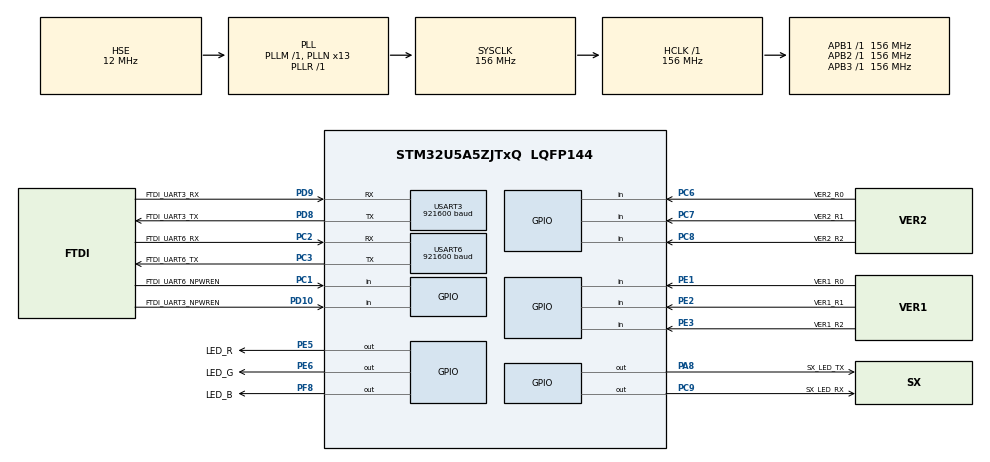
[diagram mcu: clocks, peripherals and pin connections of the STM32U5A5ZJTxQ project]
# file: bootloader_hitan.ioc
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CORTEX_M33_NS.AccessPermission-Cortex_Memory_Protection_Unit_Region0_Settings=MPU_REGION_PRIV_RO
CORTEX_M33_NS.AllocateAttribute1=MPU_RW_ALLOCATE
CORTEX_M33_NS.Attributes0=MPU_ATTRIBUTES_NUMBER0
CORTEX_M33_NS.Attributes1=MPU_ATTRIBUTES_NUMBER1
CORTEX_M33_NS.AttributesIndex-Cortex_Memory_Protection_Unit_Region1_Settings=MPU_ATTRIBUTES_NUMBER1
CORTEX_M33_NS.BaseAddress-Cortex_Memory_Protection_Unit_Region0_Settings=0x08000000
CORTEX_M33_NS.BaseAddress-Cortex_Memory_Protection_Unit_Region1_Settings=0x20000000
CORTEX_M33_NS.CacheableAttribute1=MPU_WRITE_BACK
CORTEX_M33_NS.Enable-Cortex_Memory_Protection_Unit_Region0_Settings=MPU_REGION_ENABLE
CORTEX_M33_NS.Enable-Cortex_Memory_Protection_Unit_Region1_Settings=MPU_REGION_ENABLE
CORTEX_M33_NS.LimitAddress-Cortex_Memory_Protection_Unit_Region0_Settings=0x081FDFFF
CORTEX_M33_NS.LimitAddress-Cortex_Memory_Protection_Unit_Region1_Settings=0x2026FFFF
CORTEX_M33_NS.MPU_Control=MPU_PRIVILEGED_DEFAULT
CORTEX_M33_NS.Memorytype1=MPU_CACHEABLE
CORTEX_M33_NS.Number-Cortex_Memory_Protection_Unit_Region1_Settings=MPU_REGION_NUMBER1
CORTEX_M33_NS.userName=CORTEX_M33
FLASH.B1_BLOCK_active=true
FLASH.B1_endPage=254
FLASH.B2_Bank=FLASH_BANK_2
FLASH.B2_endPage=255
FLASH.OB_Boot_Configuration_active_NS0=true
FLASH.OB_DBANK=OB_DUALBANK_DUAL
FLASH.OB_NSBOOTADD0_Address=0x08000000
GPDMA1.DESTINC_GPDMACH0=DMA_DINC_INCREMENTED
GPDMA1.DESTINC_GPDMACH1=DMA_DINC_FIXED
GPDMA1.DESTINC_GPDMACH2=DMA_DINC_INCREMENTED
GPDMA1.DIRECTION_GPDMACH1=DMA_MEMORY_TO_PERIPH
GPDMA1.DIRECTION_GPDMACH3=DMA_MEMORY_TO_PERIPH
GPDMA1.IPHANDLE_GPDMACH0-SIMPLEREQUEST_GPDMACH0=__NULL
GPDMA1.IPHANDLE_GPDMACH1-SIMPLEREQUEST_GPDMACH1=__NULL
GPDMA1.IPHANDLE_GPDMACH2-SIMPLEREQUEST_GPDMACH2=__NULL
GPDMA1.IPHANDLE_GPDMACH3-SIMPLEREQUEST_GPDMACH3=__NULL
GPDMA1.PRIORITY_GPDMACH0=DMA_LOW_PRIORITY_HIGH_WEIGHT
GPDMA1.PRIORITY_GPDMACH1=DMA_LOW_PRIORITY_HIGH_WEIGHT
GPDMA1.PRIORITY_GPDMACH2=DMA_LOW_PRIORITY_HIGH_WEIGHT
GPDMA1.PRIORITY_GPDMACH3=DMA_LOW_PRIORITY_HIGH_WEIGHT
GPDMA1.REQUEST_GPDMACH0=GPDMA1_REQUEST_USART6_RX
GPDMA1.REQUEST_GPDMACH1=GPDMA1_REQUEST_USART6_TX
GPDMA1.REQUEST_GPDMACH2=GPDMA1_REQUEST_USART3_RX
GPDMA1.REQUEST_GPDMACH3=GPDMA1_REQUEST_USART3_TX
GPDMA1.SRCINC_GPDMACH1=DMA_SINC_INCREMENTED
GPDMA1.SRCINC_GPDMACH3=DMA_SINC_INCREMENTED
GPDMA1.SRCINC_GPDMACH4=DMA_SINC_INCREMENTED
GTZC.MPCBB1_Area_Privilege_Size=0x000C0000
GTZC.MPCBB1_SecConfig_array=00000000\:00000000\:00000000\:00000000\:00000000\:00000000\:00000000\:00000000\:00000000\:00000000\:00000000\:00000000\:00000000\:00000000\:00000000\:00000000\:00000000\:00000000\:00000000\:00000000\:00000000\:00000000\:00000000\:00000000\:00000000\:00000000\:00000000\:00000000\:00000000\:00000000\:00000000\:00000000\:00000000\:00000000\:00000000\:00000000\:00000000\:00000000\:00000000\:00000000\:00000000\:00000000\:00000000\:00000000\:00000000\:00000000\:00000000\:00000000
GTZC.MPCBB2_Area_Privilege_Size=0x00010000
GTZC.MPCBB2_PrivConfig_array=FFFFFFFF\:FFFFFFFF\:FFFFFFFF\:FFFFFFFF\:00000000\:00000000\:00000000\:00000000\:00000000\:00000000\:00000000\:00000000\:00000000\:00000000\:00000000\:00000000\:00000000\:00000000\:00000000\:00000000\:00000000\:00000000\:00000000\:00000000\:00000000\:00000000\:00000000\:00000000\:00000000\:00000000\:00000000\:00000000\:00000000\:00000000\:00000000\:00000000\:00000000\:00000000\:00000000\:00000000\:00000000\:00000000\:00000000\:00000000\:00000000\:00000000\:00000000\:00000000\:00000000\:00000000\:00000000\:00000000
GTZC.MPCBB2_SecConfig_array=00000000\:00000000\:00000000\:00000000\:00000000\:00000000\:00000000\:00000000\:00000000\:00000000\:00000000\:00000000\:00000000\:00000000\:00000000\:00000000\:00000000\:00000000\:00000000\:00000000\:00000000\:00000000\:00000000\:00000000\:00000000\:00000000\:00000000\:00000000\:00000000\:00000000\:00000000\:00000000\:00000000\:00000000\:00000000\:00000000\:00000000\:00000000\:00000000\:00000000\:00000000\:00000000\:00000000\:00000000\:00000000\:00000000\:00000000\:00000000\:00000000\:00000000\:00000000\:00000000
GTZC.MPCBB3_Area_Privilege_Size=0x000D0000
GTZC.MPCBB3_SecConfig_array=00000000\:00000000\:00000000\:00000000\:00000000\:00000000\:00000000\:00000000\:00000000\:00000000\:00000000\:00000000\:00000000\:00000000\:00000000\:00000000\:00000000\:00000000\:00000000\:00000000\:00000000\:00000000\:00000000\:00000000\:00000000\:00000000\:00000000\:00000000\:00000000\:00000000\:00000000\:00000000\:00000000\:00000000\:00000000\:00000000\:00000000\:00000000\:00000000\:00000000\:00000000\:00000000\:00000000\:00000000\:00000000\:00000000\:00000000\:00000000\:00000000\:00000000\:00000000\:00000000
GTZC.MPCBB4_PrivConfig_array=00000000
GTZC.MPCBB4_SecConfig_array=00000000
GTZC.MPCBB5_Area_Privilege_Size=0x000D0000
GTZC.MPCBB5_SecConfig_array=00000000\:00000000\:00000000\:00000000\:00000000\:00000000\:00000000\:00000000\:00000000\:00000000\:00000000\:00000000\:00000000\:00000000\:00000000\:00000000\:00000000\:00000000\:00000000\:00000000\:00000000\:00000000\:00000000\:00000000\:00000000\:00000000\:00000000\:00000000\:00000000\:00000000\:00000000\:00000000\:00000000\:00000000\:00000000\:00000000\:00000000\:00000000\:00000000\:00000000\:00000000\:00000000\:00000000\:00000000\:00000000\:00000000\:00000000\:00000000\:00000000\:00000000\:00000000\:00000000
Mcu.Family=STM32U5
Mcu.Name=STM32U5A5ZJTxQ
Mcu.Package=LQFP144
NUCLEO-U5A5ZJ-Q.BUTTON=0
NUCLEO-U5A5ZJ-Q.LD1=false
NUCLEO-U5A5ZJ-Q.LD2=false
NUCLEO-U5A5ZJ-Q.LD3=false
NUCLEO-U5A5ZJ-Q.VCP=false
NVIC.GPDMA1_Channel0_IRQn=true\:5\:0\:true\:true\:true\:2\:false\:true\:true
NVIC.GPDMA1_Channel1_IRQn=true\:0\:0\:false\:false\:true\:false\:true\:true
NVIC.GPDMA1_Channel2_IRQn=true\:0\:0\:false\:false\:true\:false\:true\:true
NVIC.GPDMA1_Channel3_IRQn=true\:0\:0\:false\:false\:true\:false\:true\:true
NVIC.GPDMA1_Channel4_IRQn=true\:0\:0\:false\:false\:true\:true\:true\:true
NVIC.PriorityGroup=NVIC_PRIORITYGROUP_4
NVIC.TIM4_IRQn=true\:0\:0\:false\:true\:true\:1\:true\:true\:true
NVIC.USART3_IRQn=true\:0\:0\:false\:false\:true\:true\:true\:true
NVIC.USART6_IRQn=true\:0\:0\:false\:false\:true\:true\:true\:true
PA13\ (JTMS/SWDIO).Mode=Serial_Wire
PA13\ (JTMS/SWDIO).Signal=DEBUG_JTMS-SWDIO
PA14\ (JTCK/SWCLK).Mode=Serial_Wire
PA14\ (JTCK/SWCLK).Signal=DEBUG_JTCK-SWCLK
PA8.GPIO_Label=SX_LED_TX
PA8.PinState=GPIO_PIN_RESET
PA8.Signal=GPIO_Output
PB3\ (JTDO/TRACESWO).Signal=DEBUG_JTDO-SWO
PC1.GPIO_Label=FTDI_UART6_NPWREN
PC1.Signal=GPIO_Input
PC14-OSC32_IN\ (PC14).Mode=LSE-External-Oscillator
PC14-OSC32_IN\ (PC14).Signal=RCC_OSC32_IN
PC15-OSC32_OUT\ (PC15).Mode=LSE-External-Oscillator
PC15-OSC32_OUT\ (PC15).Signal=RCC_OSC32_OUT
PC2.GPIO_Label=FTDI_UART6_RX
PC2.GPIO_PuPd=GPIO_PULLUP
PC2.Mode=Asynchronous
PC2.Signal=USART6_RX
PC3.GPIO_Label=FTDI_UART6_TX
PC3.GPIO_PuPd=GPIO_PULLUP
PC3.Mode=Asynchronous
PC3.Signal=USART6_TX
PC6.GPIO_Label=VER2_R0
PC6.GPIO_PuPd=GPIO_PULLUP
PC6.Signal=GPIO_Input
PC7.GPIO_Label=VER2_R1
PC7.GPIO_PuPd=GPIO_PULLUP
PC7.Signal=GPIO_Input
PC8.GPIO_Label=VER2_R2
PC8.GPIO_PuPd=GPIO_PULLUP
PC8.Signal=GPIO_Input
PC9.GPIO_Label=SX_LED_RX
PC9.Signal=GPIO_Output
PD10.GPIO_Label=FTDI_UART3_NPWREN
PD10.Signal=GPIO_Input
PD8.GPIO_Label=FTDI_UART3_TX
PD8.GPIO_PuPd=GPIO_PULLUP
PD8.Mode=Asynchronous
PD8.Signal=USART3_TX
PD9.GPIO_Label=FTDI_UART3_RX
PD9.GPIO_PuPd=GPIO_PULLUP
PD9.Mode=Asynchronous
PD9.Signal=USART3_RX
PE1.GPIO_Label=VER1_R0
PE1.GPIO_PuPd=GPIO_PULLUP
PE1.Signal=GPIO_Input
PE2.GPIO_Label=VER1_R1
PE2.GPIO_PuPd=GPIO_PULLUP
PE2.Signal=GPIO_Input
PE3.GPIO_Label=VER1_R2
PE3.GPIO_PuPd=GPIO_PULLUP
PE3.Signal=GPIO_Input
PE5.GPIO_Label=LED_R
PE5.Signal=GPIO_Output
PE6.GPIO_Label=LED_G
PE6.Signal=GPIO_Output
PF8.GPIO_Label=LED_B
PF8.Signal=GPIO_Output
PH0-OSC_IN\ (PH0).Mode=HSE-External-Oscillator
PH0-OSC_IN\ (PH0).Signal=RCC_OSC_IN
PH1-OSC_OUT\ (PH1).Mode=HSE-External-Oscillator
PH1-OSC_OUT\ (PH1).Signal=RCC_OSC_OUT
ProjectManager.HeapSize=0x200
ProjectManager.StackSize=0x400
ProjectManager.TargetToolchain=STM32CubeIDE
RCC.ADCFreq_Value=16000000
RCC.AHBFreq_Value=156000000
RCC.APB1Freq_Value=156000000
RCC.APB1TimFreq_Value=156000000
RCC.APB2Freq_Value=156000000
RCC.APB2TimFreq_Value=156000000
RCC.APB3Freq_Value=156000000
RCC.CortexFreq_Value=156000000
RCC.DACCLockSelectionVirtual=RCC_DAC1CLKSOURCE_LSI
RCC.EPOD_VALUE=12000000
RCC.HCLKFreq_Value=156000000
RCC.HSE_VALUE=12000000
RCC.HSI48_VALUE=48000000
RCC.HSI_VALUE=16000000
RCC.LSIDIV=RCC_LSI_DIV128
RCC.LSIDIV_VALUE=250
RCC.MSIClockRange=RCC_MSIRANGE_0
RCC.MSI_VALUE=48000000
RCC.PLL1P=8
RCC.PLL1R=1
RCC.PLL2FRACN=0
RCC.PLL3FRACN=0
RCC.PLLFRACN=0
RCC.PLLN=13
RCC.PLLSourceVirtual=RCC_PLLSOURCE_HSE
RCC.SPI1CLockSelection=RCC_SPI1CLKSOURCE_PCLK2
RCC.SPI2CLockSelection=RCC_SPI2CLKSOURCE_PCLK1
RCC.SPI3CLockSelection=RCC_SPI3CLKSOURCE_PCLK3
RCC.SYSCLKFreq_VALUE=156000000
RCC.SYSCLKSource=RCC_SYSCLKSOURCE_PLLCLK
RCC.VCOOutputFreq_Value=156000000
RTC.backupRegisterStartZone3_g=1
TIM4.AutoReloadPreload=TIM_AUTORELOAD_PRELOAD_ENABLE
TIM4.PeriodNoDither=160000
TIM4.Prescaler=1
USART3.BaudRate=921600
USART3.VirtualMode-Asynchronous=VM_ASYNC
USART6.BaudRate=921600
USART6.VirtualMode-Asynchronous=VM_ASYNC
VP_CRC_VS_CRC.Mode=CRC_Activate
VP_FLASH_SIG_Activate_FlashIP.Mode=Activate_FlashIP
VP_GPDMA1_VS_GPDMACH0.Mode=SIMPLEREQUEST_GPDMACH0
VP_GPDMA1_VS_GPDMACH1.Mode=SIMPLEREQUEST_GPDMACH1
VP_GPDMA1_VS_GPDMACH2.Mode=SIMPLEREQUEST_GPDMACH2
VP_GPDMA1_VS_GPDMACH3.Mode=SIMPLEREQUEST_GPDMACH3
VP_GPDMA1_VS_GPDMACH4.Mode=SIMPLEREQUEST_GPDMACH4
VP_GTZC_VS_GTZC_Enable.Mode=GTZC_Enable
VP_ICACHE_VS_ICACHE.Mode=DefaultMode
VP_LPBAMQUEUE_VS_QUEUE.Mode=QUEUEMODE
VP_LPBAM_VS_SIG1.Mode=SmartRun
VP_LPBAM_VS_SIG4.Mode=LPDMA1
VP_MEMORYMAP_VS_MEMORYMAP.Mode=CurAppReg
VP_NUCLEO-U5A5ZJ-Q_VS_BSP_COMMON.Mode=COMMON
VP_PWR_VS_SECSignals.Mode=Security/Privilege
VP_RTC_VS_RTC_Activate.Mode=RTC_Enabled
VP_TIM2_VS_ClockSourceINT.Mode=Internal
VP_TIM4_VS_ClockSourceINT.Mode=Internal
board=NUCLEO-U5A5ZJ-Q

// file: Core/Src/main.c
/* USER CODE BEGIN Header */
/**
  ******************************************************************************
  * @file           : main.c
  * @brief          : Main program body
  ******************************************************************************
  * @attention
  *
  * Copyright (c) 2025 STMicroelectronics.
  * All rights reserved.
  *
  * This software is licensed under terms that can be found in the LICENSE file
  * in the root directory of this software component.
  * If no LICENSE file comes with this software, it is provided AS-IS.
  *
  ******************************************************************************
  */
/* USER CODE END Header */
#include "main.h"
#include "crc.h"
#include "flash.h"
#include "gpdma.h"
#include "icache.h"
#include "memorymap.h"
#include "rtc.h"
#include "tim.h"
#include "usart.h"
#include "gpio.h"

/* USER CODE BEGIN Includes */
#include "stm32u5xx_hal.h"
#include <stdint.h>
/* USER CODE END Includes */

/* USER CODE BEGIN PTD */
typedef void (*app_entry_t)(void);
/* USER CODE END PTD */

/* USER CODE BEGIN PV */
uint8_t HW_Version;
uint32_t boot_timeout = 0;
/* USER CODE END PV */

void SystemClock_Config(void);
static void MPU_Config(void);
static void MX_NVIC_Init(void);

/* USER CODE BEGIN 0 */
void write_clear_bkup_sram(void){
	*(uint32_t*)(SRAM_BKUP_REGISTER) = SRAM_BKUP_REGISTER_CLEAR;
}

/* USER CODE END 0 */

int main(void)
{

  /* USER CODE BEGIN 1 */
	SCB->VTOR = 0x08000000;
	__enable_irq();
  /* USER CODE END 1 */

  /* MCU Configuration--------------------------------------------------------*/

  /* MPU Configuration--------------------------------------------------------*/
  MPU_Config();

  /* Reset of all peripherals, Initializes the Flash interface and the Systick. */
  HAL_Init();

  /* Configure the system clock */
  SystemClock_Config();

  /* Initialize all configured peripherals */
  MX_GPDMA1_Init();
  MX_GPIO_Init();
  MX_ICACHE_Init();
  MX_TIM2_Init();
  MX_TIM4_Init();
  MX_RTC_Init();
  MX_USART6_UART_Init();
  MX_USART3_UART_Init();
  MX_FLASH_Init();
  MX_CRC_Init();

  /* Initialize interrupts */
  MX_NVIC_Init();
  /* USER CODE BEGIN 2 */
	HAL_GPIO_WritePin(LED_R_GPIO_Port, LED_R_Pin, GPIO_PIN_SET);//Turn off RGB led
	HAL_GPIO_WritePin(LED_G_GPIO_Port, LED_G_Pin, GPIO_PIN_SET);//Turn off RGB led
	HAL_GPIO_WritePin(LED_B_GPIO_Port, LED_B_Pin, GPIO_PIN_SET); //Turn off RGB led
  //HAL_Delay(1000);
  Set_Boot_Timer();
  uint32_t bkup_sram_boot_reason = *(uint32_t*)SRAM_BKUP_REGISTER;
  uint32_t stop_addr = APP_ADDRESS + Get_Len_File();
  uint32_t get_crc = Get_CRC_File();
  uint32_t calc_crc = FlashCRC_Calc(APP_ADDRESS , stop_addr);
  bool crc_valid = (calc_crc != get_crc) ? false : true;
  bool sram_flag = (bkup_sram_boot_reason != UPDATE_FW_MODE) ? true : false;
  if (sram_flag && crc_valid){
	  JumpToApp();
  }
  HAL_GPIO_WritePin(SX_LED_RX_GPIO_Port, SX_LED_RX_Pin, GPIO_PIN_SET);
  read_hw_version();
  bool start_prog_flag = true; //false;
  S_UART_MESSAGE msg = { 0 };
  S_UART_MESSAGE reply = { 0 };
  /* USER CODE END 2 */

  /* Infinite loop */
  while (1)
  {

    /* USER CODE BEGIN 3 */
	  static uint32_t flash_app_address = APP_ADDRESS;
	  uint8_t RxLen = UART_GetMessage((uint8_t*) &msg, sizeof(msg));
	    if ((RxLen != RX_EMPTY) && Validate_UART(&msg, RxLen)) {
	    	Set_Boot_Timer();
			switch (msg.header.opcode) {
				case UART_OPCODE_STATUS: {
					UART_Reply_Status(&msg, &reply);
					break;
				}
				case UART_OPCODE_START_PROG:{
					HAL_GPIO_WritePin(LED_B_GPIO_Port, LED_B_Pin, GPIO_PIN_RESET);
					start_prog_flag = true;
					if (FLASH_MassErase(FLASH_APP_BANK) != HAL_OK){
						UART_Reply_error(&msg, &reply);
					}else{
						UART_Reply_Start_Prog(&msg,&reply);
					}
					HAL_Delay(20);
					break;
				}
				case UART_OPCODE_WRITE_BUFFER:{
					if (!start_prog_flag){ //Erase before Writing
						UART_Reply_error(&msg, &reply);
					}
					if (flash_app_address > 0x08400000 || flash_app_address < 0x08200000)
						UART_Reply_error(&msg, &reply);
					Flash_Write(flash_app_address,(uint64_t*)&msg.start_wr_buff_req.buffer,NUM_OF_QUADWORDS(FLASH_TOTAL_BUFFER_SIZE));
					flash_app_address+=FLASH_TOTAL_BUFFER_SIZE;
					UART_Reply_Write_Buffer(&msg, &reply);
					break;
				}
				case UART_OPCODE_HEADER_FILE:{
					start_prog_flag = false;
					HEADER_FILE header_file = {0};
					header_file.crc = msg.op_hdr_file_req.crc_file;
					header_file.len = PAGES_TO_BYTE(LEN_TO_CRC_CHECK);//msg.op_hdr_file_req.file_len;
					Clear_Header_File();
					Flash_Write(HEADER_FILE_ADDRESS,(uint64_t*)&header_file,FLASH_QUADWORD_HEADER_NUM);
					flash_app_address = APP_ADDRESS;
					uint32_t stop_addr = APP_ADDRESS + header_file.len;
					uint32_t calc_crc = FlashCRC_Calc(APP_ADDRESS, stop_addr);
					if (header_file.crc == calc_crc){
						UART_Reply_Header_File(&msg, &reply);
						HAL_Delay(100);
						JumpToApp();
					}
					UART_Reply_error(&msg, &reply);
					break;
				}
				case UART_OPCODE_RESET:
					{
						write_clear_bkup_sram();
						UART_Reply_Start_Prog(&msg,&reply);
						HAL_Delay(1000);
						HAL_NVIC_SystemReset();
						break;
					}
				default:
					UART_Reply_error(&msg, &reply);
					break;
				}
	    	}
	    Boot_Timeout();
	    }

  /* USER CODE END 3 */
}

void SystemClock_Config(void)
{
  RCC_OscInitTypeDef RCC_OscInitStruct = {0};
  RCC_ClkInitTypeDef RCC_ClkInitStruct = {0};

  /** Configure the main internal regulator output voltage
  */
  if (HAL_PWREx_ControlVoltageScaling(PWR_REGULATOR_VOLTAGE_SCALE1) != HAL_OK)
  {
    Error_Handler();
  }

  /** Initializes the CPU, AHB and APB buses clocks
  */
  RCC_OscInitStruct.OscillatorType = RCC_OSCILLATORTYPE_LSI|RCC_OSCILLATORTYPE_HSE;
  RCC_OscInitStruct.HSEState = RCC_HSE_ON;
  RCC_OscInitStruct.LSIState = RCC_LSI_ON;
  RCC_OscInitStruct.LSIDiv = RCC_LSI_DIV128;
  RCC_OscInitStruct.PLL.PLLState = RCC_PLL_ON;
  RCC_OscInitStruct.PLL.PLLSource = RCC_PLLSOURCE_HSE;
  RCC_OscInitStruct.PLL.PLLMBOOST = RCC_PLLMBOOST_DIV1;
  RCC_OscInitStruct.PLL.PLLM = 1;
  RCC_OscInitStruct.PLL.PLLN = 13;
  RCC_OscInitStruct.PLL.PLLP = 8;
  RCC_OscInitStruct.PLL.PLLQ = 2;
  RCC_OscInitStruct.PLL.PLLR = 1;
  RCC_OscInitStruct.PLL.PLLRGE = RCC_PLLVCIRANGE_1;
  RCC_OscInitStruct.PLL.PLLFRACN = 0;
  if (HAL_RCC_OscConfig(&RCC_OscInitStruct) != HAL_OK)
  {
    Error_Handler();
  }

  /** Initializes the CPU, AHB and APB buses clocks
  */
  RCC_ClkInitStruct.ClockType = RCC_CLOCKTYPE_HCLK|RCC_CLOCKTYPE_SYSCLK
                              |RCC_CLOCKTYPE_PCLK1|RCC_CLOCKTYPE_PCLK2
                              |RCC_CLOCKTYPE_PCLK3;
  RCC_ClkInitStruct.SYSCLKSource = RCC_SYSCLKSOURCE_PLLCLK;
  RCC_ClkInitStruct.AHBCLKDivider = RCC_SYSCLK_DIV1;
  RCC_ClkInitStruct.APB1CLKDivider = RCC_HCLK_DIV1;
  RCC_ClkInitStruct.APB2CLKDivider = RCC_HCLK_DIV1;
  RCC_ClkInitStruct.APB3CLKDivider = RCC_HCLK_DIV1;

  if (HAL_RCC_ClockConfig(&RCC_ClkInitStruct, FLASH_LATENCY_4) != HAL_OK)
  {
    Error_Handler();
  }
}

/**
  * @brief NVIC Configuration.
  * @retval None
  */
static void MX_NVIC_Init(void)
{
  /* TIM4_IRQn interrupt configuration */
  HAL_NVIC_SetPriority(TIM4_IRQn, 0, 0);
  HAL_NVIC_EnableIRQ(TIM4_IRQn);
  /* GPDMA1_Channel0_IRQn interrupt configuration */
  HAL_NVIC_SetPriority(GPDMA1_Channel0_IRQn, 5, 0);
  HAL_NVIC_EnableIRQ(GPDMA1_Channel0_IRQn);
}

/* USER CODE BEGIN 4 */
void Set_Boot_Timer(void){
	boot_timeout = HAL_GetTick();
}

void Boot_Timeout(){
	if (HAL_GetTick() - boot_timeout > BOOT_TIMEOUT) {
		write_clear_bkup_sram();
		HAL_NVIC_SystemReset();
	}
}

void JumpToApp(void){
	uint32_t app_msp = *(volatile uint32_t *)(APP_ADDRESS + 0X00); //Stack pointer
	uint32_t app_reset_pc = *(volatile uint32_t *)(APP_ADDRESS + 0X04); //Reset Handler
	app_entry_t app_reset_handler = (app_entry_t)app_reset_pc;
	__disable_irq();
	SysTick->CTRL = 0;
	SysTick->LOAD = 0;
	SysTick->VAL  = 0;
	SCB->VTOR = APP_ADDRESS; //update table vector
	__set_MSP(app_msp); //Upload the app
	HAL_DeInit();
	Update_Cash_Mem();
	app_reset_handler(); //jump to app
	while(1);
}

void Update_Cash_Mem(void){
	ICACHE->CR &= ~ICACHE_CR_EN;
		ICACHE->CR |= ICACHE_CR_CACHEINV;
		ICACHE->CR |= ICACHE_CR_EN;

//	__DSB();
//	__ISB();
//
//	while((ICACHE->SR & ICACHE_SR_BUSYF) != 0U);
//	ICACHE->FCR = ICACHE_FCR_CBSYENDF;
//
//	ICACHE->CR |= ICACHE_CR_CACHEINV;
//
//	while((ICACHE->SR & ICACHE_SR_BSYENDF) != 0U);
//	ICACHE->FCR = ICACHE_FCR_CBSYENDF;
//
//	__DSB();
//		__ISB();
}

VER_PIN RevC1[] = {
		{GPIOE, GPIO_PIN_1},	// VER1_0
		{GPIOE, GPIO_PIN_2},	// VER1_1
		{GPIOE, GPIO_PIN_3},	// VER1_2
};

VER_PIN RevC2[] = {
		{GPIOC, GPIO_PIN_6},	// VER2_0
		{GPIOC, GPIO_PIN_7},	// VER2_1
		{GPIOC, GPIO_PIN_8},	// VER2_2
};
void read_hw_version(void){
	HW_Version = 0;
	HW_Version |= READ_HW_PIN(RevC1[VER_R0],VER_R0) | READ_HW_PIN(RevC2[VER_R0],VER_R0);
	HW_Version |= READ_HW_PIN(RevC1[VER_R1],VER_R1) | READ_HW_PIN(RevC2[VER_R1],VER_R1);
	HW_Version |= READ_HW_PIN(RevC1[VER_R2],VER_R2) | READ_HW_PIN(RevC2[VER_R2],VER_R2);
}
/* USER CODE END 4 */

 /* MPU Configuration */

void MPU_Config(void)
{
  MPU_Region_InitTypeDef MPU_InitStruct = {0};
  MPU_Attributes_InitTypeDef MPU_AttributesInit = {0};

  /* Disables the MPU */
  HAL_MPU_Disable();

  /** Initializes and configures the Region 0 and the memory to be protected
  */
  MPU_InitStruct.Enable = MPU_REGION_ENABLE;
  MPU_InitStruct.Number = MPU_REGION_NUMBER0;
  MPU_InitStruct.BaseAddress = 0x08000000;
  MPU_InitStruct.LimitAddress = 0x081FDFFF;
  MPU_InitStruct.AttributesIndex = MPU_ATTRIBUTES_NUMBER0;
  MPU_InitStruct.AccessPermission = MPU_REGION_PRIV_RO;
  MPU_InitStruct.DisableExec = MPU_INSTRUCTION_ACCESS_ENABLE;
  MPU_InitStruct.IsShareable = MPU_ACCESS_NOT_SHAREABLE;

  HAL_MPU_ConfigRegion(&MPU_InitStruct);

  /** Initializes and configures the Region 1 and the memory to be protected
  */
  MPU_InitStruct.Number = MPU_REGION_NUMBER1;
  MPU_InitStruct.BaseAddress = 0x20000000;
  MPU_InitStruct.LimitAddress = 0x2026FFFF;
  MPU_InitStruct.AttributesIndex = MPU_ATTRIBUTES_NUMBER1;
  MPU_InitStruct.AccessPermission = MPU_REGION_PRIV_RW;

  HAL_MPU_ConfigRegion(&MPU_InitStruct);

  /** Initializes and configures the Attribute 0 and the memory to be protected
  */
  MPU_AttributesInit.Number = MPU_ATTRIBUTES_NUMBER0;
  MPU_AttributesInit.Attributes = INNER_OUTER(MPU_NOT_CACHEABLE);

  HAL_MPU_ConfigMemoryAttributes(&MPU_AttributesInit);

  /** Initializes and configures the Attribute 1 and the memory to be protected
  */
  MPU_AttributesInit.Number = MPU_ATTRIBUTES_NUMBER1;
  MPU_AttributesInit.Attributes = INNER_OUTER(MPU_WRITE_BACK|MPU_TRANSIENT
                              |MPU_RW_ALLOCATE);

  HAL_MPU_ConfigMemoryAttributes(&MPU_AttributesInit);
  /* Enables the MPU */
  HAL_MPU_Enable(MPU_PRIVILEGED_DEFAULT);

}

void Error_Handler(void)
{
  __disable_irq();
  while (1)
  {
  }
}
